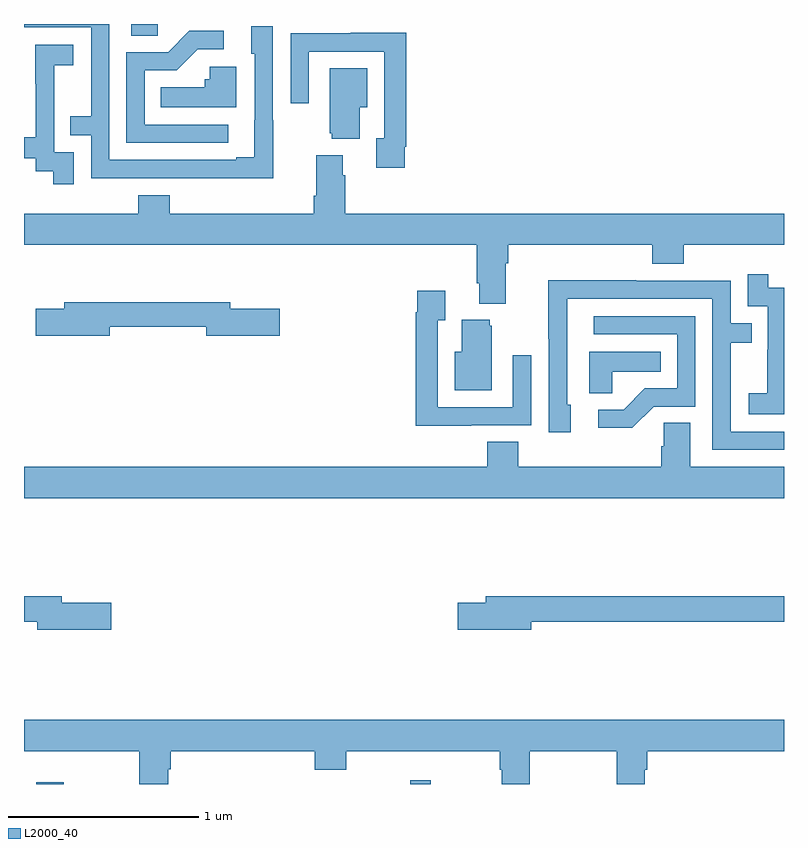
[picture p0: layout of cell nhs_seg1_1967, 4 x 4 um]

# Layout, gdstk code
import gdstk
lib = gdstk.Library(unit=1e-6, precision=1e-09)
def R(c, l, rs):  # rectangles x0, y0, x1, y1
    for r in rs: c.add(gdstk.rectangle(r[:2], r[2:], *l))
def P(c, l, *ps):  # polygons
    for p in ps: c.add(gdstk.Polygon(p, *l))
L2000_40 = (2000, 40)

nhs_seg1_1967 = lib.new_cell('nhs_seg1_1967')
R(nhs_seg1_1967, L2000_40, [(217.064,578.199,217.21,578.209), (219.033,578.199,219.142,578.218), (217.565,582.136,217.704,582.199)])
P(nhs_seg1_1967, L2000_40, [(218.313,581.693),(218.31,581.693),(218.31,582.187),(218.195,582.187),(218.195,582.042),(218.214,582.042),(218.214,581.693),(218.213,581.693),(218.213,581.497),(218.117,581.497),(218.117,581.484),(217.449,581.484),(217.449,582.199),(217,582.199),(217,582.183),(217.353,582.183),(217.353,581.714),(217.243,581.714),(217.243,581.613),(217.353,581.613),(217.353,581.388),(217.849,581.388),(217.849,581.387),(218.313,581.387)],
  [(218.074,581.67),(217.635,581.67),(217.635,581.955),(217.804,581.955),(217.915,582.066),(218.05,582.066),(218.05,582.164),(217.871,582.164),(217.758,582.051),(217.539,582.051),(217.539,581.574),(218.074,581.574)],
  [(219.004,581.554),(219.011,581.554),(219.011,582.152),(218.719,582.152),(218.719,582.15),(218.403,582.15),(218.403,581.781),(218.499,581.781),(218.499,582.054),(218.895,582.054),(218.895,581.598),(218.855,581.598),(218.855,581.442),(219.004,581.442)],
  [(217.263,581.523),(217.158,581.523),(217.158,581.753),(217.16,581.753),(217.16,581.981),(217.258,581.981),(217.258,582.091),(217.06,582.091),(217.06,581.885),(217.061,581.885),(217.061,581.602),(217,581.602),(217,581.493),(217.062,581.493),(217.062,581.425),(217.155,581.425),(217.155,581.355),(217.263,581.355)],
  [(218.116,581.974),(217.977,581.974),(217.977,581.907),(217.951,581.907),(217.951,581.866),(217.72,581.866),(217.72,581.762),(218.116,581.762)],
  [(218.767,581.762),(218.806,581.762),(218.806,581.965),(218.609,581.965),(218.609,581.625),(218.621,581.625),(218.621,581.594),(218.767,581.594)],
  [(219.535,580.94),(219.548,580.94),(219.548,581.036),(220.307,581.036),(220.307,580.937),(220.472,580.937),(220.472,581.036),(221,581.036),(221,581.2),(218.69,581.2),(218.69,581.402),(218.677,581.402),(218.677,581.509),(218.537,581.509),(218.537,581.296),(218.525,581.296),(218.525,581.2),(217.766,581.2),(217.766,581.299),(217.601,581.299),(217.601,581.2),(217,581.2),(217,581.036),(219.383,581.036),(219.383,580.834),(219.395,580.834),(219.395,580.727),(219.535,580.727)],
  [(221,580.812),(220.918,580.812),(220.918,580.882),(220.809,580.882),(220.809,580.713),(220.914,580.713),(220.914,580.484),(220.913,580.484),(220.913,580.255),(220.815,580.255),(220.815,580.145),(221,580.145)],
  [(221,580.053),(220.719,580.053),(220.719,580.522),(220.829,580.522),(220.829,580.623),(220.719,580.623),(220.719,580.848),(220.223,580.848),(220.223,580.85),(219.76,580.85),(219.76,580.543),(219.762,580.543),(219.762,580.05),(219.877,580.05),(219.877,580.194),(219.858,580.194),(219.858,580.752),(220.623,580.752),(220.623,579.957),(221,579.957)],
  [(219.353,580.086),(219.669,580.086),(219.669,580.456),(219.573,580.456),(219.573,580.182),(219.177,580.182),(219.177,580.639),(219.217,580.639),(219.217,580.795),(219.069,580.795),(219.069,580.682),(219.061,580.682),(219.061,580.085),(219.353,580.085)],
  [(217.45,580.606),(217.958,580.606),(217.958,580.559),(218.347,580.559),(218.347,580.701),(218.086,580.701),(218.086,580.735),(217.211,580.735),(217.211,580.701),(217.062,580.701),(217.062,580.559),(217.45,580.559)],
  [(220.314,580.185),(220.533,580.185),(220.533,580.662),(219.999,580.662),(219.999,580.566),(220.437,580.566),(220.437,580.281),(220.268,580.281),(220.157,580.17),(220.023,580.17),(220.023,580.073),(220.201,580.073)],
  [(219.463,580.611),(219.452,580.611),(219.452,580.642),(219.305,580.642),(219.305,580.474),(219.266,580.474),(219.266,580.271),(219.463,580.271)],
  [(220.095,580.37),(220.352,580.37),(220.352,580.474),(219.974,580.474),(219.974,580.255),(220.095,580.255)],
  [(221,579.868),(220.507,579.868),(220.507,580.1),(220.368,580.1),(220.368,579.977),(220.355,579.977),(220.355,579.868),(219.602,579.868),(219.602,580.001),(219.437,580.001),(219.437,579.868),(217,579.868),(217,579.704),(221,579.704)],
  [(219.67,579.052),(221,579.052),(221,579.188),(219.431,579.188),(219.431,579.152),(219.282,579.152),(219.282,579.01),(219.67,579.01)],
  [(217.459,579.152),(217.198,579.152),(217.198,579.188),(217,579.188),(217,579.052),(217.07,579.052),(217.07,579.01),(217.459,579.01)],
  [(217.759,578.276),(217.772,578.276),(217.772,578.372),(218.531,578.372),(218.531,578.273),(218.696,578.273),(218.696,578.372),(219.503,578.372),(219.503,578.274),(219.515,578.274),(219.515,578.199),(219.663,578.199),(219.663,578.372),(220.12,578.372),(220.12,578.199),(220.267,578.199),(220.267,578.274),(220.28,578.274),(220.28,578.372),(221,578.372),(221,578.536),(217,578.536),(217,578.372),(217.607,578.372),(217.607,578.199),(217.759,578.199)])

lib.write_gds('nhs_seg1_1967.gds')
